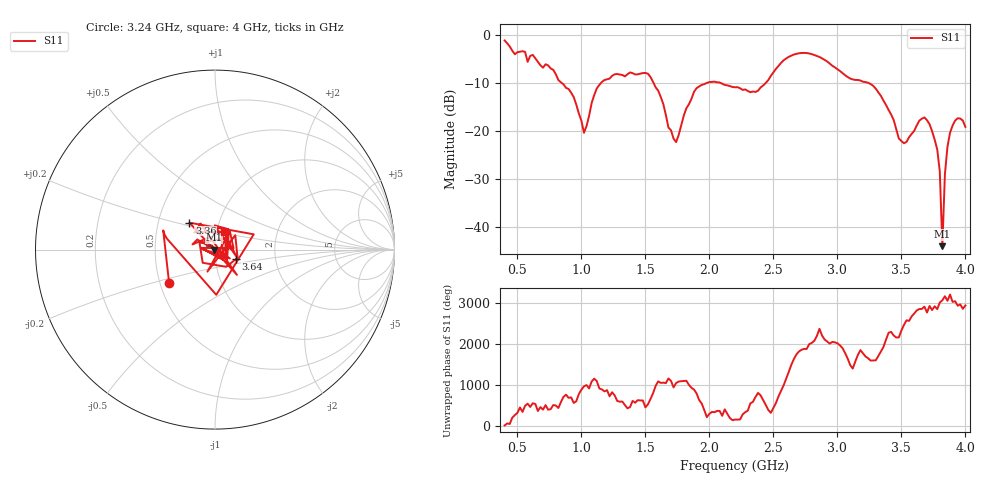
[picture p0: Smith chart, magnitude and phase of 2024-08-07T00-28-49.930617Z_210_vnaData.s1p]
!Created with skrf (http://scikit-rf.org).
# Hz S RI R 50.0
!freq ReS11 ImS11
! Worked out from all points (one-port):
!   181 points, 400 MHz to 4 GHz, reference 50 ohm
!   lowest |S11| = -43.9 dB at 3.82 GHz (marker M1), VSWR 1.01, Z = 49.4 - j0.107 ohm
!   |S11| at or under -10 dB: 1.564 GHz to 1.981 GHz (417.2 MHz wide, 23.5 % of centre); 2.086 GHz to 2.441 GHz (354 MHz wide, 15.6 % of centre); 3.242 GHz to end of sweep (the widest 3 of 4)
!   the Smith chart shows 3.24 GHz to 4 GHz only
!   S11 on the Smith chart (normalised r, x): 3.24 GHz: 0.56, -0.23; 3.36 GHz: 0.72, +0.23; 3.64 GHz: 1.26, -0.13; 4 GHz: 1.08, +0.22
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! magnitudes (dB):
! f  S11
! 400 MHz  -1.2
! 860 MHz  -10.3
! 940 MHz  -13.0
! 1.02 GHz  -20.4
! 1.12 GHz  -11.2
! 1.3 GHz  -8.3
! 1.52 GHz  -8.1
! 1.62 GHz  -12.9
! 1.72 GHz  -21.6
! 1.76 GHz  -20.8
! 1.9 GHz  -11.1
! 2.2 GHz  -10.9
! 2.38 GHz  -11.6
! 2.66 GHz  -4.1
! 3.1 GHz  -9.1
! 3.24 GHz  -10.0
! 3.36 GHz  -13.7
! 3.48 GHz  -21.6
! 3.56 GHz  -21.3
! 3.64 GHz  -17.8
! 3.72 GHz  -18.6
! 3.78 GHz  -23.8
! 3.8 GHz  -28.4
! 3.82 GHz  -43.9
! 3.84 GHz  -28.9
! 3.88 GHz  -20.4
! 3.94 GHz  -17.3
! 4 GHz  -19.1
